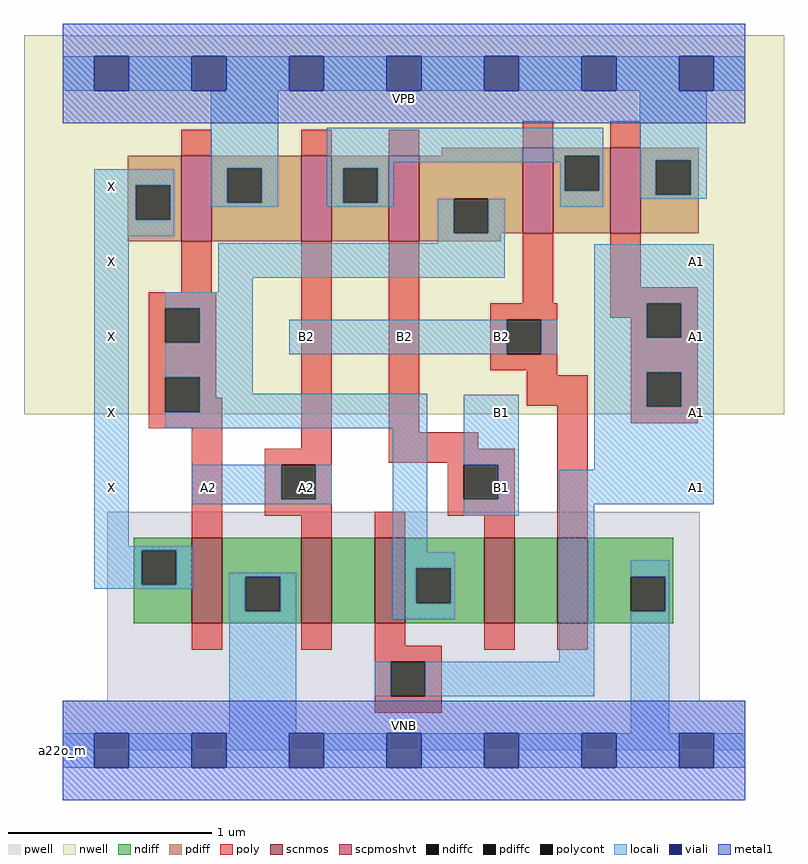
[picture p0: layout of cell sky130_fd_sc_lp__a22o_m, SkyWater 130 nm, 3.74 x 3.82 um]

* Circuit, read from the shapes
.subckt sky130_fd_sc_lp__a22o_m A1 A2 B1 B2 VGND VNB VPB VPWR X
XM1 VGND n1 X VNB sky130_fd_pr__nfet_01v8 w=0.42 l=0.15
XM2 n2 A2 VGND VNB sky130_fd_pr__nfet_01v8 w=0.42 l=0.15
XM3 n1 A1 n2 VNB sky130_fd_pr__nfet_01v8 w=0.42 l=0.15
XM4 n3 B1 n1 VNB sky130_fd_pr__nfet_01v8 w=0.42 l=0.15
XM5 VGND B2 n3 VNB sky130_fd_pr__nfet_01v8 w=0.42 l=0.15
XM6 VPWR n1 X VPB sky130_fd_pr__pfet_01v8_hvt w=0.42 l=0.15
XM7 n4 A2 VPWR VPB sky130_fd_pr__pfet_01v8_hvt w=0.42 l=0.15
XM8 n1 B1 n4 VPB sky130_fd_pr__pfet_01v8_hvt w=0.42 l=0.15
XM9 n4 B2 n1 VPB sky130_fd_pr__pfet_01v8_hvt w=0.42 l=0.15
XM10 VPWR A1 n4 VPB sky130_fd_pr__pfet_01v8_hvt w=0.42 l=0.15
.ends

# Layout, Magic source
magic
tech sky130A
magscale 1 2
<< nwell >>
rect -38 331 710 704
<< pwell >>
rect 44 49 627 235
rect 0 0 672 49
<< scnmos >>
rect 127 125 157 209
rect 235 125 265 209
rect 307 125 337 209
rect 415 125 445 209
rect 487 125 517 209
<< scpmoshvt >>
rect 117 501 147 585
rect 235 501 265 585
rect 321 501 351 585
rect 453 509 483 593
rect 539 509 569 593
<< ndiff >>
rect 70 197 127 209
rect 70 163 78 197
rect 112 163 127 197
rect 70 125 127 163
rect 157 171 235 209
rect 157 137 180 171
rect 214 137 235 171
rect 157 125 235 137
rect 265 125 307 209
rect 337 179 415 209
rect 337 145 348 179
rect 382 145 415 179
rect 337 125 415 145
rect 445 125 487 209
rect 517 171 601 209
rect 517 137 559 171
rect 593 137 601 171
rect 517 125 601 137
<< pdiff >>
rect 373 585 453 593
rect 64 556 117 585
rect 64 522 72 556
rect 106 522 117 556
rect 64 501 117 522
rect 147 573 235 585
rect 147 539 162 573
rect 196 539 235 573
rect 147 501 235 539
rect 265 573 321 585
rect 265 539 276 573
rect 310 539 321 573
rect 265 501 321 539
rect 351 543 453 585
rect 351 509 385 543
rect 419 509 453 543
rect 483 585 539 593
rect 483 551 494 585
rect 528 551 539 585
rect 483 509 539 551
rect 569 581 626 593
rect 569 547 584 581
rect 618 547 626 581
rect 569 509 626 547
rect 351 501 431 509
<< ndiffc >>
rect 78 163 112 197
rect 180 137 214 171
rect 348 145 382 179
rect 559 137 593 171
<< pdiffc >>
rect 72 522 106 556
rect 162 539 196 573
rect 276 539 310 573
rect 385 509 419 543
rect 494 551 528 585
rect 584 547 618 581
<< poly >>
rect 117 585 147 611
rect 235 585 265 611
rect 321 585 351 611
rect 453 593 483 619
rect 539 593 569 619
rect 117 451 147 501
rect 85 435 151 451
rect 85 401 101 435
rect 135 401 151 435
rect 85 367 151 401
rect 85 333 101 367
rect 135 347 151 367
rect 135 333 157 347
rect 85 317 157 333
rect 127 209 157 317
rect 235 297 265 501
rect 199 281 265 297
rect 321 313 351 501
rect 453 440 483 509
rect 539 456 569 509
rect 539 440 625 456
rect 421 424 487 440
rect 539 426 575 440
rect 421 390 437 424
rect 471 390 487 424
rect 421 374 487 390
rect 457 369 487 374
rect 559 406 575 426
rect 609 406 625 440
rect 559 372 625 406
rect 457 339 517 369
rect 321 297 409 313
rect 321 283 445 297
rect 199 247 215 281
rect 249 247 265 281
rect 199 231 265 247
rect 379 281 445 283
rect 379 247 395 281
rect 429 247 445 281
rect 235 209 265 231
rect 307 209 337 235
rect 379 231 445 247
rect 415 209 445 231
rect 487 209 517 339
rect 559 338 575 372
rect 609 338 625 372
rect 559 322 625 338
rect 127 99 157 125
rect 235 99 265 125
rect 307 103 337 125
rect 307 87 373 103
rect 415 99 445 125
rect 487 99 517 125
rect 307 53 323 87
rect 357 53 373 87
rect 307 37 373 53
<< polycont >>
rect 101 401 135 435
rect 101 333 135 367
rect 437 390 471 424
rect 575 406 609 440
rect 215 247 249 281
rect 395 247 429 281
rect 575 338 609 372
rect 323 53 357 87
<< locali >>
rect 0 649 31 683
rect 65 649 127 683
rect 161 649 223 683
rect 257 649 319 683
rect 353 649 415 683
rect 449 649 511 683
rect 545 649 607 683
rect 641 649 672 683
rect 146 573 212 649
rect 31 556 110 572
rect 31 522 72 556
rect 106 522 110 556
rect 146 539 162 573
rect 196 539 212 573
rect 146 535 212 539
rect 260 585 532 613
rect 260 579 494 585
rect 260 573 326 579
rect 260 539 276 573
rect 310 539 326 573
rect 490 551 494 579
rect 528 551 532 585
rect 260 535 326 539
rect 31 506 110 522
rect 369 509 385 543
rect 419 509 435 543
rect 490 535 532 551
rect 568 581 634 649
rect 568 547 584 581
rect 618 547 634 581
rect 568 543 634 547
rect 31 201 65 506
rect 369 499 435 509
rect 153 465 435 499
rect 153 451 187 465
rect 101 435 187 451
rect 135 401 187 435
rect 523 440 641 498
rect 101 367 187 401
rect 223 390 437 424
rect 471 390 487 424
rect 523 406 575 440
rect 609 406 641 440
rect 135 351 187 367
rect 523 372 641 406
rect 135 333 359 351
rect 101 317 359 333
rect 127 247 215 281
rect 249 247 265 281
rect 127 242 265 247
rect 31 197 128 201
rect 31 163 78 197
rect 112 163 128 197
rect 325 195 359 317
rect 395 281 449 350
rect 429 247 449 281
rect 523 338 575 372
rect 609 338 641 372
rect 523 276 641 338
rect 395 231 449 247
rect 489 242 641 276
rect 325 179 386 195
rect 31 159 128 163
rect 164 171 230 175
rect 164 137 180 171
rect 214 137 230 171
rect 164 17 230 137
rect 325 145 348 179
rect 382 145 386 179
rect 325 129 386 145
rect 489 87 523 242
rect 307 53 323 87
rect 357 53 523 87
rect 559 171 597 187
rect 593 137 597 171
rect 559 17 597 137
rect 0 -17 31 17
rect 65 -17 127 17
rect 161 -17 223 17
rect 257 -17 319 17
rect 353 -17 415 17
rect 449 -17 511 17
rect 545 -17 607 17
rect 641 -17 672 17
<< viali >>
rect 31 649 65 683
rect 127 649 161 683
rect 223 649 257 683
rect 319 649 353 683
rect 415 649 449 683
rect 511 649 545 683
rect 607 649 641 683
rect 31 -17 65 17
rect 127 -17 161 17
rect 223 -17 257 17
rect 319 -17 353 17
rect 415 -17 449 17
rect 511 -17 545 17
rect 607 -17 641 17
<< metal1 >>
rect 0 683 672 715
rect 0 649 31 683
rect 65 649 127 683
rect 161 649 223 683
rect 257 649 319 683
rect 353 649 415 683
rect 449 649 511 683
rect 545 649 607 683
rect 641 649 672 683
rect 0 617 672 649
rect 0 17 672 49
rect 0 -17 31 17
rect 65 -17 127 17
rect 161 -17 223 17
rect 257 -17 319 17
rect 353 -17 415 17
rect 449 -17 511 17
rect 545 -17 607 17
rect 641 -17 672 17
rect 0 -49 672 -17
<< labels >>
flabel pwell s 0 0 672 49 0 FreeSans 200 0 0 0 VNB
port 6 nsew ground bidirectional
flabel nwell s 0 617 672 666 0 FreeSans 200 0 0 0 VPB
port 7 nsew power bidirectional
rlabel comment s 0 0 0 0 4 a22o_m
flabel metal1 s 0 617 672 666 0 FreeSans 340 0 0 0 VPWR
port 8 nsew power bidirectional
flabel metal1 s 0 0 672 49 0 FreeSans 340 0 0 0 VGND
port 5 nsew ground bidirectional
flabel locali s 127 242 161 276 0 FreeSans 340 0 0 0 A2
port 2 nsew signal input
flabel locali s 223 242 257 276 0 FreeSans 340 0 0 0 A2
port 2 nsew signal input
flabel locali s 415 242 449 276 0 FreeSans 340 0 0 0 B1
port 3 nsew signal input
flabel locali s 415 316 449 350 0 FreeSans 340 0 0 0 B1
port 3 nsew signal input
flabel locali s 223 390 257 424 0 FreeSans 340 0 0 0 B2
port 4 nsew signal input
flabel locali s 319 390 353 424 0 FreeSans 340 0 0 0 B2
port 4 nsew signal input
flabel locali s 415 390 449 424 0 FreeSans 340 0 0 0 B2
port 4 nsew signal input
flabel locali s 607 242 641 276 0 FreeSans 340 0 0 0 A1
port 1 nsew signal input
flabel locali s 607 316 641 350 0 FreeSans 340 0 0 0 A1
port 1 nsew signal input
flabel locali s 607 390 641 424 0 FreeSans 340 0 0 0 A1
port 1 nsew signal input
flabel locali s 607 464 641 498 0 FreeSans 340 0 0 0 A1
port 1 nsew signal input
flabel locali s 31 242 65 276 0 FreeSans 340 0 0 0 X
port 9 nsew signal output
flabel locali s 31 316 65 350 0 FreeSans 340 0 0 0 X
port 9 nsew signal output
flabel locali s 31 390 65 424 0 FreeSans 340 0 0 0 X
port 9 nsew signal output
flabel locali s 31 464 65 498 0 FreeSans 340 0 0 0 X
port 9 nsew signal output
flabel locali s 31 538 65 572 0 FreeSans 340 0 0 0 X
port 9 nsew signal output
<< properties >>
string LEFsite unit
string LEFclass CORE
string FIXED_BBOX 0 0 672 666
string GDS_FILE $PDKPATH/libs.ref/sky130_fd_sc_lp/gds/sky130_fd_sc_lp.gds
string LEFsymmetry X Y R90
string GDS_END 1112534
string GDS_START 1105322
<< end >>
